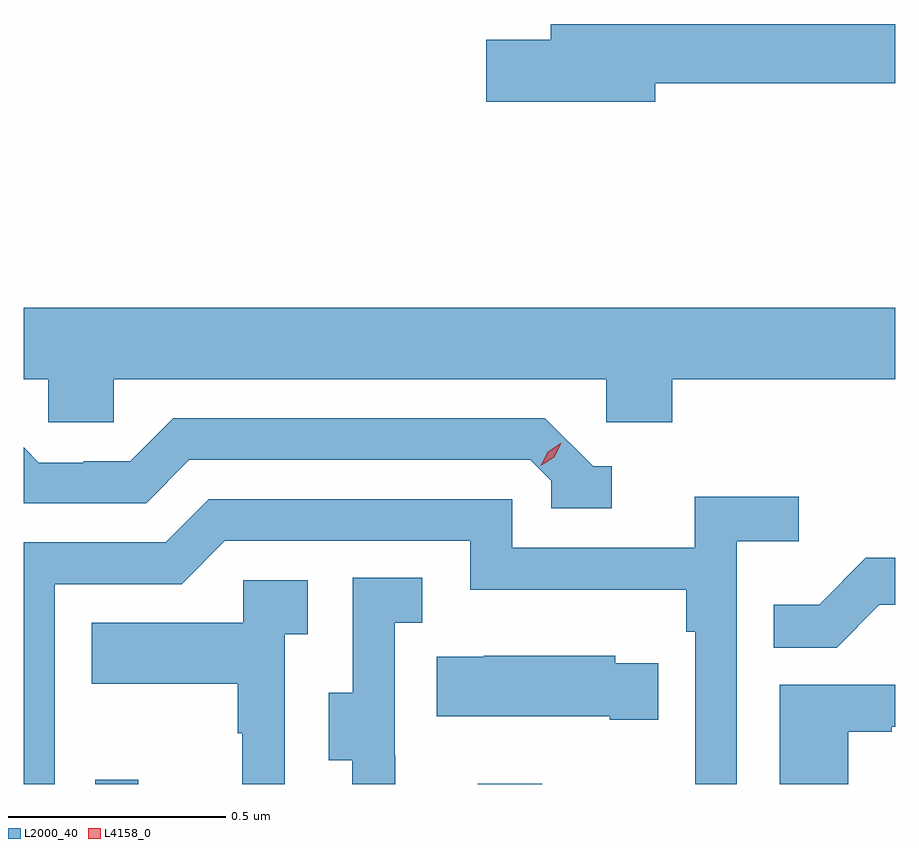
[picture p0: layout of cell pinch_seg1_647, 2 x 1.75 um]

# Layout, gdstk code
import gdstk
lib = gdstk.Library(unit=1e-6, precision=1e-09)
def R(c, l, rs):  # rectangles x0, y0, x1, y1
    for r in rs: c.add(gdstk.rectangle(r[:2], r[2:], *l))
def P(c, l, *ps):  # polygons
    for p in ps: c.add(gdstk.Polygon(p, *l))
L2000_40 = (2000, 40)
L4158_0 = (4158, 0)

pinch_seg1_647 = lib.new_cell('pinch_seg1_647')
R(pinch_seg1_647, L2000_40, [(1100.835,510.843,1100.933,510.853), (1101.713,510.843,1101.861,510.844)])
P(pinch_seg1_647, L2000_40, [(1102.12,512.452),(1102.671,512.452),(1102.671,512.588),(1101.881,512.588),(1101.881,512.552),(1101.732,512.552),(1101.732,512.41),(1102.12,512.41)],
  [(1100.877,511.772),(1102.008,511.772),(1102.008,511.674),(1102.16,511.674),(1102.16,511.772),(1102.671,511.772),(1102.671,511.936),(1100.671,511.936),(1100.671,511.772),(1100.727,511.772),(1100.727,511.674),(1100.877,511.674)],
  [(1102.021,511.572),(1101.978,511.572),(1101.867,511.683),(1101.014,511.683),(1100.915,511.584),(1100.808,511.584),(1100.808,511.581),(1100.705,511.581),(1100.671,511.616),(1100.671,511.488),(1100.952,511.488),(1101.051,511.587),(1101.834,511.587),(1101.882,511.539),(1101.882,511.476),(1102.021,511.476)],
  [(1100.742,511.302),(1101.033,511.302),(1101.132,511.401),(1101.696,511.401),(1101.696,511.289),(1102.192,511.289),(1102.192,511.193),(1102.212,511.193),(1102.212,510.843),(1102.308,510.843),(1102.308,511.4),(1102.45,511.4),(1102.45,511.502),(1102.211,511.502),(1102.211,511.386),(1101.792,511.386),(1101.792,511.497),(1101.095,511.497),(1100.996,511.398),(1100.671,511.398),(1100.671,510.843),(1100.742,510.843)],
  [(1102.635,511.254),(1102.671,511.254),(1102.671,511.362),(1102.604,511.362),(1102.497,511.255),(1102.393,511.255),(1102.393,511.156),(1102.537,511.156)],
  [(1101.524,510.909),(1101.522,510.909),(1101.522,511.213),(1101.586,511.213),(1101.586,511.316),(1101.426,511.316),(1101.426,511.053),(1101.371,511.053),(1101.371,510.898),(1101.425,510.898),(1101.425,510.843),(1101.524,510.843)],
  [(1101.27,511.187),(1101.322,511.187),(1101.322,511.311),(1101.174,511.311),(1101.174,511.213),(1100.827,511.213),(1100.827,511.073),(1101.162,511.073),(1101.162,510.959),(1101.172,510.959),(1101.172,510.843),(1101.27,510.843)],
  [(1102.127,511.12),(1102.029,511.12),(1102.029,511.138),(1101.727,511.138),(1101.727,511.135),(1101.619,511.135),(1101.619,510.998),(1102.016,510.998),(1102.016,510.991),(1102.127,510.991)],
  [(1102.564,510.963),(1102.664,510.963),(1102.664,510.975),(1102.671,510.975),(1102.671,511.071),(1102.406,511.071),(1102.406,510.843),(1102.564,510.843)])
P(pinch_seg1_647, L4158_0, [(1101.857,511.574),(1101.857,511.574),(1101.874,511.606),(1101.904,511.625),(1101.905,511.625),(1101.905,511.625),(1101.888,511.593),(1101.858,511.574)])

lib.write_gds('pinch_seg1_647.gds')
